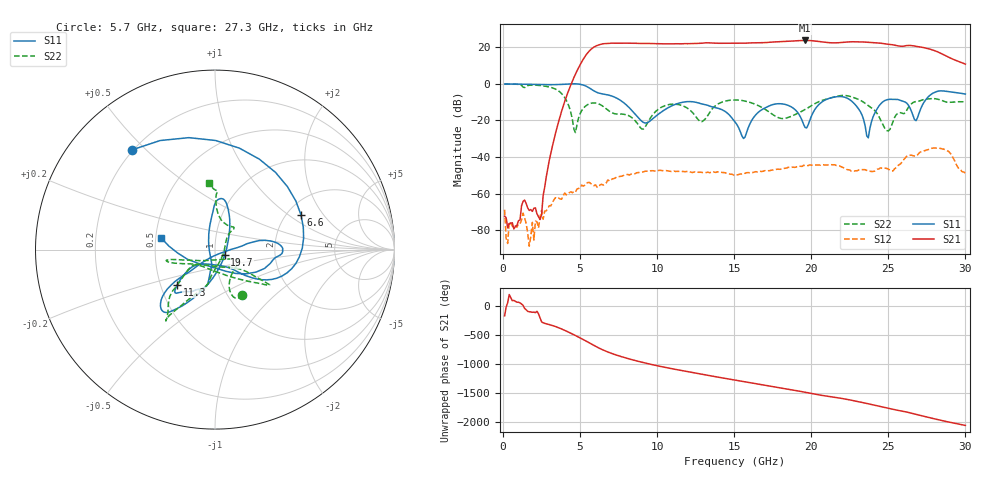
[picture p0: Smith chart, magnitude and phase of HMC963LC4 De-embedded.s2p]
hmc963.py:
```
from pathlib import Path

import numpy as np
import skrf as rf

import matplotlib.pyplot as plt

from scipy.interpolate import CubicSpline

class HMC963:
    datadir = Path(__file__).parent / "data"

    sparams = rf.Network(datadir / "HMC963LC4 De-embedded.s2p")

    gain = CubicSpline(sparams.f / 1e9, 20 * np.log10(np.abs(sparams.s[:,1,0])))
```
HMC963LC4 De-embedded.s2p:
! Hittite Microwave Corporation
! 2 Elizabeth Drive
! Chelmsford, MA 01824
! http://www.hittite.com
! Tel: 978-250-3343
! Fax: 978-250-3373
! Device:  HMC963LP4
! Description: GaAs pHEMT MMIC Low Noise Amplifier
! Frequency:  6.00 -  26.50 GHz
! Package:  LP4  - 4x4 mm Quad Flatpack No-Lead (QFN) Plastic Package: 24 pin
! Ports:  2 RF, 3 DC
!  Pin  1 = GND
!  Pin  2 = GND
!  Pin  3 = RF In  = Port 1
!  Pin  4 = GND
!  Pin 15 = GND
!  Pin 16 = RF Out  = Port 2
!  Pin 17 = GND
!  Pin 18 = GND
!  Pin 19 = Vdd3
!  Pin 21 = Vdd2
!  Pin 23 = Vdd1
! Voltages:  Vd1 = +3.50 Volts, Id1 =  11.61 mA
!  Vd2 = +3.50 Volts, Id2 =  16.16 mA
!  Vd3 = +3.50 Volts, Id3 =  20.98 mA
! Data:  The device was measured on evaluation board 108535-2.
!  Data was collected using a calibrated network analyzer.
!  The evaluation circuit board was modeled and simulated.  This was use
!  to removed the evaluation board circuit from the measured data.
!  The reference plane is the edge of the package pin.
! Misc:  Data Measured in Application 20110010 Part 1
!  De-embedding was done in Application 20110119
! Date Measured:  2011-04-11
! Date:  2011-11-03 MJV
! Date:  2012-05-09 MJV Fixed the voltages labels (had all 1's)
! Note:
!  Hittite supplies this data as a sample of measured data at the package pin for
!  for this package product.  Your particular data for this product may vary.
!  Data was taken at 25 degrees C.
!  Hittite reserves the right to change this data at anytime.
# GHz S MA R 50
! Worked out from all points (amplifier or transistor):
!   300 points, 100 MHz to 30 GHz, reference 50 ohm
!   highest |S21| = 23.7 dB at 19.6 GHz (marker M1)
!   |S21| within 3 dB of that: 6.039 GHz to 25.66 GHz (19.62 GHz wide, 124 % of centre)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
!   unconditionally stable (mu >= 1): start of sweep to 4.387 GHz; 4.803 GHz to end of sweep
!   at 5.1 GHz: K = 6.63, MAG = 22.5 dB, |S12| = -55.3 dB
!   at 15.1 GHz: K = 10.75, MAG = 22.8 dB, |S12| = -50.0 dB
!   at 30 GHz: K = 26.27, MAG = 12.7 dB, |S12| = -48.9 dB
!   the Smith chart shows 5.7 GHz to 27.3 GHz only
!   S11 on the Smith chart (normalised r, x): 5.7 GHz: 0.19, +0.45; 6.6 GHz: 2.36, +1.26; 11.3 GHz: 0.61, -0.26; 19.7 GHz: 1.11, -0.07; 27.3 GHz: 0.53, +0.08
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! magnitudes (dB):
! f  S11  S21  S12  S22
! 100 MHz  -0.1  -72.4  -68.9  -0.1
! 2.4 GHz  -0.4  -74.2  -72.9  -0.9
! 3.8 GHz  -0.3  -14.9  -63.1  -5.3
! 5.7 GHz  -2.8  18.8  -54.6  -10.6
! 6.6 GHz  -5.7  22.0  -54.8  -13.0
! 11.3 GHz  -10.9  21.9  -47.9  -11.2
! 15.1 GHz  -21.4  22.1  -50.0  -8.8
! 19.6 GHz  -23.9  23.7  -44.6  -14.0
! 19.7 GHz  -24.1  23.7  -44.8  -13.5
! 27.3 GHz  -10.3  19.8  -36.7  -8.6
! 30 GHz  -5.6  10.8  -48.9  -9.9
